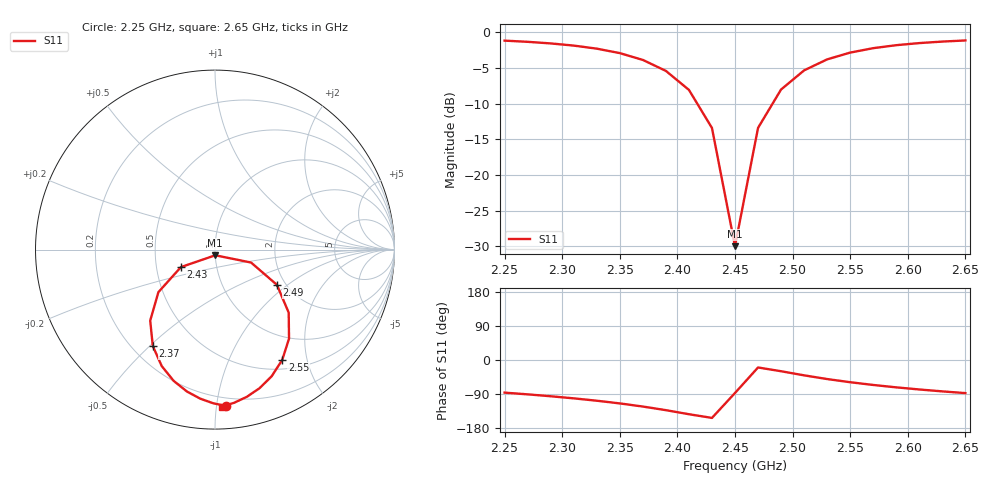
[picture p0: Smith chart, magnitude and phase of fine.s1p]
# Hz S RI R 50
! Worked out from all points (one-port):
!   21 points, 2.25 GHz to 2.65 GHz, reference 50 ohm
!   lowest |S11| = -30.0 dB at 2.45 GHz (marker M1), VSWR 1.07, Z = 50.1 - j3.17 ohm
!   |S11| at or under -10 dB: 2.417 GHz to 2.483 GHz (65.48 MHz wide, 2.67 % of centre)
!   S11 on the Smith chart (normalised r, x): 2.25 GHz: 0.14, -1.06; 2.37 GHz: 0.28, -0.51; 2.43 GHz: 0.67, -0.14; 2.49 GHz: 1.80, -0.84; 2.55 GHz: 0.63, -1.60; 2.65 GHz: 0.14, -1.04
2.25e9  0.0595 -0.8709
2.27e9  -0.01 -0.8562
2.29e9  -0.0824 -0.8305
2.31e9  -0.1566 -0.7905
2.33e9  -0.2298 -0.7318
2.35e9  -0.2967 -0.6491
2.37e9  -0.3465 -0.5374
2.39e9  -0.361 -0.3958
2.41e9  -0.3153 -0.237
2.43e9  -0.1899 -0.0974
2.45e9  0.00163 -0.0317
2.47e9  0.201 -0.0721
2.49e9  0.3449 -0.1962
2.51e9  0.4106 -0.3511
2.53e9  0.4124 -0.4962
2.55e9  0.3745 -0.6149
2.57e9  0.3158 -0.7056
2.59e9  0.248 -0.7723
2.61e9  0.1776 -0.82
2.63e9  0.1076 -0.853
2.65e9  0.0397 -0.8745
